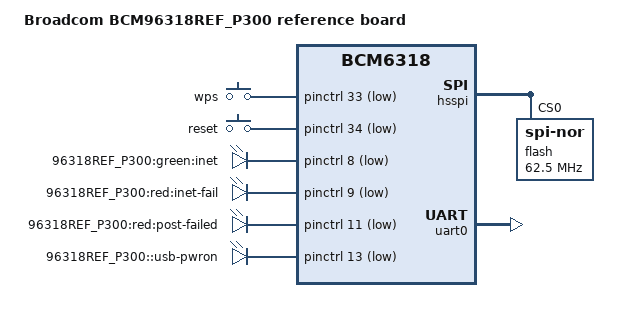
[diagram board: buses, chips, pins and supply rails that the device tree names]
/dts-v1/;

#include "bcm6318.dtsi"

#include <dt-bindings/input/input.h>

/ {
	model = "Broadcom BCM96318REF_P300 reference board";
	compatible = "brcm,bcm96318ref_p300", "brcm,bcm6318";

	chosen {
		bootargs = "root=/dev/mtdblock2 rootfstype=squashfs,jffs2 noinitrd console=ttyS0,115200";
		stdout-path = "serial0:115200n8";
	};

	gpio-keys-polled {
		compatible = "gpio-keys-polled";
		#address-cells = <1>;
		#size-cells = <0>;
		poll-interval = <20>;
		debounce-interval = <60>;

		wps {
			label = "wps";
			gpios = <&pinctrl 33 1>;
			linux,code = <KEY_WPS_BUTTON>;
		};

		reset {
			label = "reset";
			gpios = <&pinctrl 34 1>;
			linux,code = <KEY_RESTART>;
		};
        };

	gpio-leds {
		compatible = "gpio-leds";

		inet {
			label = "96318REF_P300:green:inet";
			gpios = <&pinctrl 8 1>;
		};

		inet_fail {
			label = "96318REF_P300:red:inet-fail";
			gpios = <&pinctrl 9 1>;
		};

		post_failed {
			label = "96318REF_P300:red:post-failed";
			gpios = <&pinctrl 11 1>;
		};

		usb_pwron {
			label = "96318REF_P300::usb-pwron";
			gpios = <&pinctrl 13 1>;
			default-state = "on";
		};
	};
};

&hsspi {
	status = "ok";

	flash@0 {
		compatible = "jedec,spi-nor";
		spi-max-frequency = <62500000>;
		spi-tx-bus-width = <2>;
		spi-rx-bus-width = <2>;
		reg = <0>;

		#address-cells = <1>;
		#size-cells = <1>;

		linux,part-probe = "bcm63xxpart";
	};
};

&pinctrl {
	pinctrl-names = "default";
	pinctrl-0 = <&pinctrl_usb_pwron>;
};

&uart0 {
	status = "ok";
};
